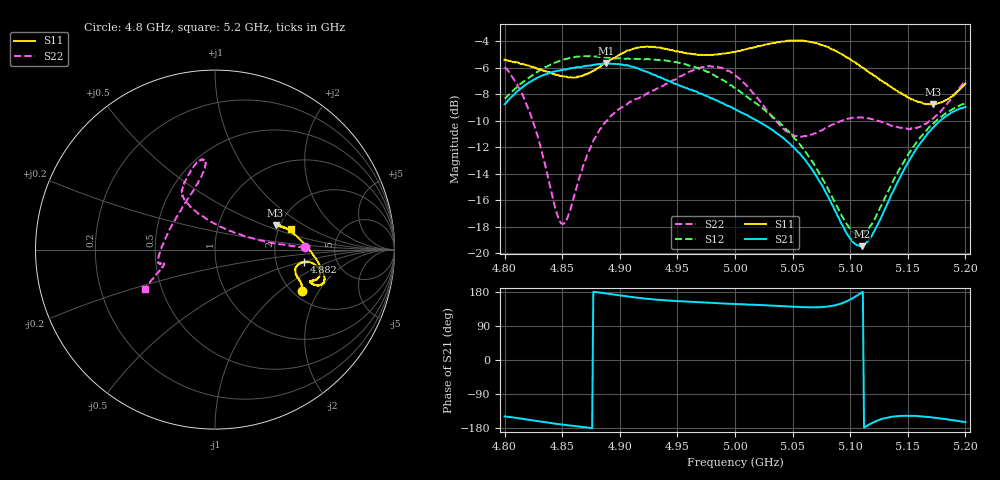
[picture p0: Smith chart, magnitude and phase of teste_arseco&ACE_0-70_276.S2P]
! Network Analyzer HP8722D
! Hewlett-Packard
! Data name: Linha & Wilkinson
! Saver's name: Rodrigo Anjos
! Comments: Teste da utilização de aquisição
! continua pelo VNA HP8722D
! Time and date: 8/5/2025 15:03
!  Frequency  S11  S21  S12  S22
# HZ  S  MA R 50
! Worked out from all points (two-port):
!   401 points, 4.8 GHz to 5.2 GHz, reference 50 ohm
!   highest |S21| = -5.66 dB at 4.888 GHz (marker M1); lowest = -19.5 dB at 5.11 GHz (marker M2)
!   |S21| within 3 dB of the highest: 4.801 GHz to 4.989 GHz (187.7 MHz wide, 3.83 % of centre)
!   lowest |S11| = -8.8 dB at 5.172 GHz (marker M3), VSWR 2.15, Z = 94.7 + j30.1 ohm
!   |S11| at or under -10 dB: nowhere
!   |S22| runs from -17.8 to -5.9 dB; largest |S21 - S12| = 1.1
!   S11 on the Smith chart (normalised r, x): 4.8 GHz: 2.25, -1.44; 4.882 GHz: 2.91, -0.54; 5.2 GHz: 2.33, +0.65
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4.8e9  0.5365 -25.2  0.3649 -148.9  0.3826 10.5  0.502 1.5
4.812e9  0.5234 -22.2  0.4112 -153.7  0.4278 8.7  0.4233 2.7
4.823e9  0.5052 -20.2  0.445 -158.7  0.4648 7.3  0.3284 6.2
4.845e9  0.4703 -16.9  0.4861 -168.4  0.5253 3.8  0.1431 41.9
4.849e9  0.4653 -15.9  0.4906 -170.1  0.5334 3.0  0.1299 58.9
4.855e9  0.4611 -14.4  0.4955 -172.4  0.5428 2.0  0.1376 85.2
4.867e9  0.4649 -11.0  0.5042 -176.6  0.5516 0.5  0.2047 112.4
4.882e9  0.5029 -7.9  0.5172 178.1  0.5512 -0.7  0.2898 120.4
4.888e9  0.5214 -7.7  0.5212 175.5  0.5467 -1.0  0.3143 121.1
4.913e9  0.5926 -11.0  0.5022 165.1  0.5409 -0.3  0.3798 118.8
4.934e9  0.5953 -15.3  0.4621 158.6  0.5365 -1.4  0.4199 112.8
4.974e9  0.5588 -18.5  0.3937 151.7  0.4877 -5.0  0.5024 99.3
5e9  0.5749 -19.3  0.3503 147.8  0.4213 -5.3  0.4691 96.9
5.044e9  0.6309 -17.4  0.2669 141.7  0.2947 3.0  0.2889 131.4
5.067e9  0.6241 -13.3  0.2068 139.0  0.222 9.5  0.2803 164.4
5.098e9  0.5456 -2.7  0.1173 156.5  0.1271 37.2  0.3216 -170.4
5.11e9  0.5033 2.7  0.1065 177.8  0.1178 61.2  0.3256 -167.2
5.119e9  0.4754 7.5  0.1171 -165.9  0.1295 78.2  0.3209 -166.3
5.134e9  0.4276 14.8  0.1597 -150.8  0.1751 94.8  0.3046 -165.7
5.152e9  0.3838 20.8  0.227 -147.2  0.2415 101.4  0.294 -164.6
5.172e9  0.3648 22.2  0.2979 -151.8  0.3083 102.5  0.3224 -159.8
5.2e9  0.4361 14.9  0.3559 -163.7  0.369 102.9  0.449 -150.8
